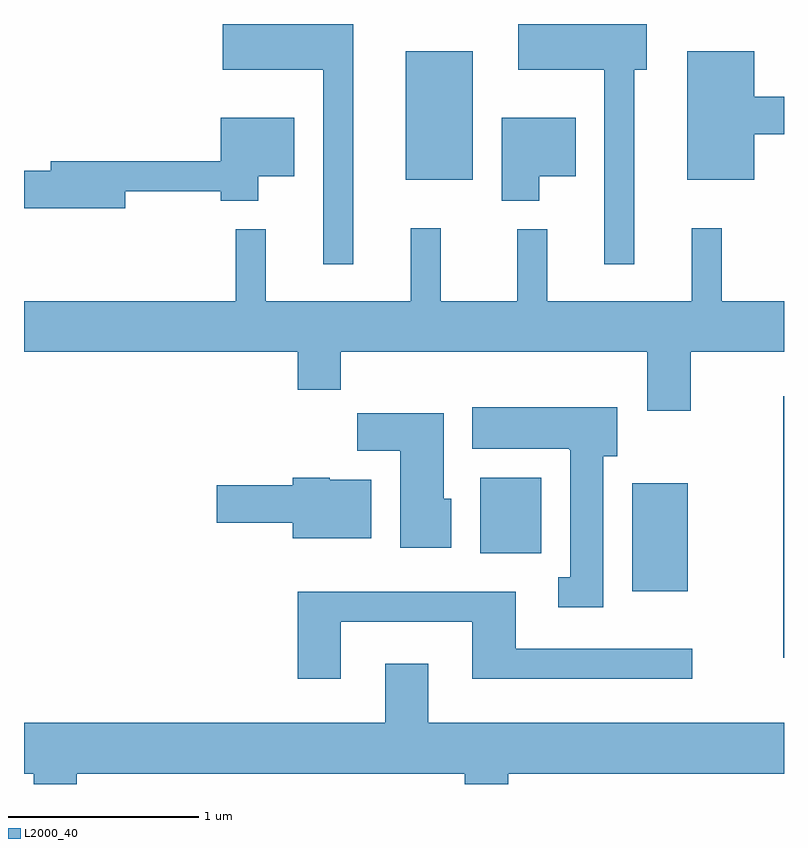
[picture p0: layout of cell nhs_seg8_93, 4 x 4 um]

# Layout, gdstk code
import gdstk
lib = gdstk.Library(unit=1e-6, precision=1e-09)
def R(c, l, rs):  # rectangles x0, y0, x1, y1
    for r in rs: c.add(gdstk.rectangle(r[:2], r[2:], *l))
def P(c, l, *ps):  # polygons
    for p in ps: c.add(gdstk.Polygon(p, *l))
L2000_40 = (2000, 40)

nhs_seg8_93 = lib.new_cell('nhs_seg8_93')
R(nhs_seg8_93, L2000_40, [(191.606,1857.006,191.611,1858.384), (190.811,1857.356,191.104,1857.924), (190.011,1857.556,190.334,1857.954), (189.621,1859.521,189.974,1860.199)])
P(nhs_seg8_93, L2000_40, [(189.344,1860.342),(188.656,1860.342),(188.656,1860.101),(189.186,1860.101),(189.186,1859.078),(189.344,1859.078)],
  [(190.824,1860.101),(190.889,1860.101),(190.889,1860.342),(190.211,1860.342),(190.211,1860.101),(190.666,1860.101),(190.666,1859.078),(190.824,1859.078)],
  [(191.454,1859.761),(191.611,1859.761),(191.611,1859.959),(191.454,1859.959),(191.454,1860.199),(191.101,1860.199),(191.101,1859.521),(191.454,1859.521)],
  [(188.144,1859.461),(188.646,1859.461),(188.646,1859.411),(188.844,1859.411),(188.844,1859.541),(189.034,1859.541),(189.034,1859.849),(188.646,1859.849),(188.646,1859.619),(187.751,1859.619),(187.751,1859.569),(187.611,1859.569),(187.611,1859.371),(188.144,1859.371)],
  [(190.324,1859.541),(190.514,1859.541),(190.514,1859.849),(190.126,1859.849),(190.126,1859.411),(190.324,1859.411)],
  [(191.119,1858.616),(191.611,1858.616),(191.611,1858.884),(191.284,1858.884),(191.284,1859.268),(191.126,1859.268),(191.126,1858.884),(190.364,1858.884),(190.364,1859.263),(190.206,1859.263),(190.206,1858.884),(189.804,1858.884),(189.804,1859.268),(189.646,1859.268),(189.646,1858.884),(188.884,1858.884),(188.884,1859.263),(188.726,1859.263),(188.726,1858.884),(187.611,1858.884),(187.611,1858.616),(189.051,1858.616),(189.051,1858.416),(189.279,1858.416),(189.279,1858.616),(190.891,1858.616),(190.891,1858.306),(191.119,1858.306)],
  [(190.659,1858.066),(190.734,1858.066),(190.734,1858.324),(189.971,1858.324),(189.971,1858.106),(190.48,1858.106),(190.48,1858.1),(190.486,1858.1),(190.486,1857.429),(190.423,1857.429),(190.423,1857.271),(190.659,1857.271)],
  [(189.859,1857.844),(189.819,1857.844),(189.819,1858.294),(189.366,1858.294),(189.366,1858.096),(189.591,1858.096),(189.591,1857.586),(189.859,1857.586)],
  [(189.439,1857.944),(189.22,1857.944),(189.22,1857.954),(189.026,1857.954),(189.026,1857.914),(188.626,1857.914),(188.626,1857.716),(189.026,1857.716),(189.026,1857.636),(189.439,1857.636)],
  [(189.279,1857.196),(189.971,1857.196),(189.971,1856.896),(191.128,1856.896),(191.128,1857.054),(190.199,1857.054),(190.199,1857.354),(189.051,1857.354),(189.051,1856.896),(189.279,1856.896)],
  [(187.889,1856.396),(189.931,1856.396),(189.931,1856.342),(190.159,1856.342),(190.159,1856.396),(191.611,1856.396),(191.611,1856.664),(189.739,1856.664),(189.739,1856.974),(189.511,1856.974),(189.511,1856.664),(187.611,1856.664),(187.611,1856.396),(187.661,1856.396),(187.661,1856.342),(187.889,1856.342)])

lib.write_gds('nhs_seg8_93.gds')
